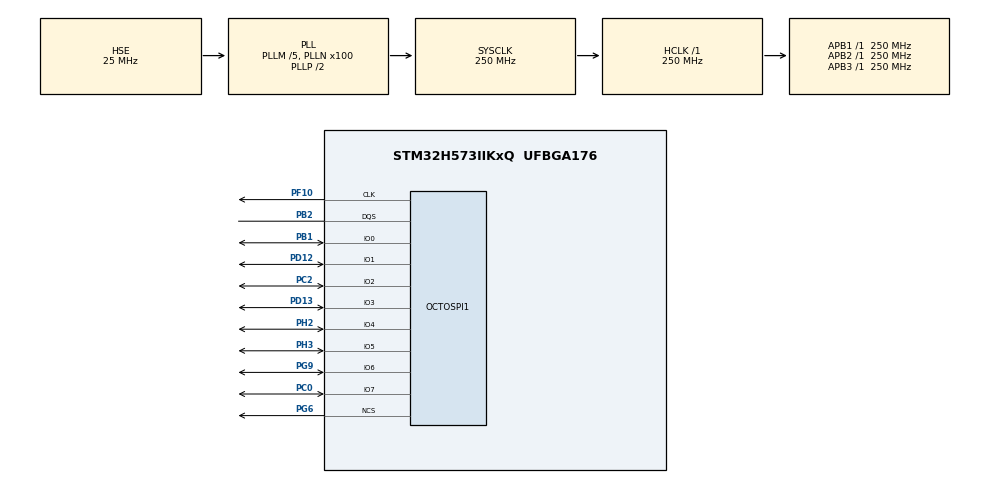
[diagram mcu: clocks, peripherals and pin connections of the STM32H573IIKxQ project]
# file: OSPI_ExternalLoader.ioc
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CORTEX_M33_NS.userName=CORTEX_M33
Mcu.Family=STM32H5
Mcu.Name=STM32H573IIKxQ
Mcu.Package=UFBGA176
NVIC.OCTOSPI1_IRQn=true\:0\:0\:false\:false\:true\:true\:true\:true
NVIC.PriorityGroup=NVIC_PRIORITYGROUP_4
OCTOSPI1.ChipSelectHighTimeCycle=1
OCTOSPI1.ClockMode=HAL_XSPI_CLOCK_MODE_0
OCTOSPI1.ClockPrescaler=1
OCTOSPI1.DelayHoldQuarterCycle=HAL_XSPI_DHQC_ENABLE
OCTOSPI1.FifoThresholdByte=4
OCTOSPI1.MemorySize=HAL_XSPI_SIZE_8MB
OCTOSPI1.MemoryType=HAL_XSPI_MEMTYPE_MACRONIX
OCTOSPI1.WrapSize=HAL_XSPI_WRAP_NOT_SUPPORTED
PB1.GPIO_Speed_High_Default=GPIO_SPEED_FREQ_HIGH
PB1.Mode=OCTOSPI1_IO_Octo
PB1.Signal=OCTOSPI1_IO0
PB2.GPIO_Speed_High_Default=GPIO_SPEED_FREQ_HIGH
PB2.Mode=octods_mode
PB2.Signal=OCTOSPI1_DQS
PC0.GPIO_Speed_High_Default=GPIO_SPEED_FREQ_HIGH
PC0.Mode=OCTOSPI1_IO_Octo
PC0.Signal=OCTOSPI1_IO7
PC2.GPIO_Speed_High_Default=GPIO_SPEED_FREQ_HIGH
PC2.Mode=OCTOSPI1_IO_Octo
PC2.Signal=OCTOSPI1_IO2
PD12.GPIO_Speed_High_Default=GPIO_SPEED_FREQ_HIGH
PD12.Mode=OCTOSPI1_IO_Octo
PD12.Signal=OCTOSPI1_IO1
PD13.GPIO_Speed_High_Default=GPIO_SPEED_FREQ_HIGH
PD13.Mode=OCTOSPI1_IO_Octo
PD13.Signal=OCTOSPI1_IO3
PF10.GPIO_Speed_High_Default=GPIO_SPEED_FREQ_HIGH
PF10.Mode=octods_mode
PF10.Signal=OCTOSPI1_CLK
PG6.GPIO_Speed_High_Default=GPIO_SPEED_FREQ_HIGH
PG6.Mode=octods_mode
PG6.Signal=OCTOSPI1_NCS
PG9.GPIO_Speed_High_Default=GPIO_SPEED_FREQ_HIGH
PG9.Mode=OCTOSPI1_IO_Octo
PG9.Signal=OCTOSPI1_IO6
PH0-OSC_IN(PH0).Mode=HSE-DIG-External-Clock-Source
PH0-OSC_IN(PH0).Signal=RCC_OSC_IN
PH2.GPIO_Speed_High_Default=GPIO_SPEED_FREQ_HIGH
PH2.Mode=OCTOSPI1_IO_Octo
PH2.Signal=OCTOSPI1_IO4
PH3.GPIO_Speed_High_Default=GPIO_SPEED_FREQ_HIGH
PH3.Mode=OCTOSPI1_IO_Octo
PH3.Signal=OCTOSPI1_IO5
ProjectManager.HeapSize=0x200
ProjectManager.StackSize=0x400
ProjectManager.TargetToolchain=STM32CubeIDE
RCC.ADCFreq_Value=250000000
RCC.AHBFreq_Value=250000000
RCC.APB1Freq_Value=250000000
RCC.APB1TimFreq_Value=250000000
RCC.APB2Freq_Value=250000000
RCC.APB2TimFreq_Value=250000000
RCC.APB3Freq_Value=250000000
RCC.CSI_VALUE=4000000
RCC.CortexFreq_Value=250000000
RCC.EPOD_VALUE=25000000
RCC.HCLKFreq_Value=250000000
RCC.HSE_VALUE=25000000
RCC.HSI48_VALUE=48000000
RCC.HSIDiv=RCC_HSI_DIV1
RCC.HSI_VALUE=64000000
RCC.LSE_VALUE=32768
RCC.LSIRC_VALUE=32000
RCC.OCTOSPIMCLockSelection=RCC_OSPICLKSOURCE_PLL2R
RCC.PLL2M=8
RCC.PLL2N=45
RCC.PLL2Source=RCC_PLL2_SOURCE_HSI
RCC.PLLM=5
RCC.PLLN=100
RCC.PLLSourceVirtual=RCC_PLL1_SOURCE_HSE
RCC.SYSCLKFreq_VALUE=250000000
RCC.SYSCLKSource=RCC_SYSCLKSOURCE_PLLCLK
RCC.USBFreq_Value=48000000
RCC.VCOOutputFreq_Value=500000000
VP_ICACHE_VS_ICACHE.Mode=DefaultMode
VP_PWR_VS_SECSignals.Mode=Security/Privilege
board=STM32H573I-DK

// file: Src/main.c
/* USER CODE BEGIN Header */
/**
  ******************************************************************************
  * @file           : main.c
  * @brief          : Main program body
  ******************************************************************************
  * @attention
  *
  * Copyright (c) 2025 STMicroelectronics.
  * All rights reserved.
  *
  * This software is licensed under terms that can be found in the LICENSE file
  * in the root directory of this software component.
  * If no LICENSE file comes with this software, it is provided AS-IS.
  *
  ******************************************************************************
  */
/* USER CODE END Header */
#include "main.h"
#include "icache.h"
#include "octospi.h"
#include "gpio.h"

void SystemClock_Config(void);

/* USER CODE BEGIN 0 */
#define SECTORS_COUNT 1

uint8_t buffer_test[MEMORY_SECTOR_SIZE];

#define LED2_GPIO_PORT                   GPIOI
#define LED2_GPIO_CLK_ENABLE()           __HAL_RCC_GPIOI_CLK_ENABLE()
#define LED2_GPIO_CLK_DISABLE()          __HAL_RCC_GPIOI_CLK_DISABLE()
#define LED2_PIN                         GPIO_PIN_8

void BSP_LED_On()
{
    HAL_GPIO_WritePin(LED2_GPIO_PORT, (uint16_t)LED2_PIN, GPIO_PIN_RESET);
}

/* USER CODE END 0 */

int main(void)
{

  /* USER CODE BEGIN 1 */
    uint32_t var = 0;
    GPIO_InitTypeDef  gpio_init_structure;
  /* USER CODE END 1 */

  /* MCU Configuration--------------------------------------------------------*/

  /* Reset of all peripherals, Initializes the Flash interface and the Systick. */
  HAL_Init();

  /* Configure the system clock */
  SystemClock_Config();

  /* Initialize all configured peripherals */
  MX_GPIO_Init();
  MX_ICACHE_Init();
  MX_OCTOSPI1_Init();
  /* USER CODE BEGIN 2 */
  LED2_GPIO_CLK_ENABLE();
  /* Configure the GPIO_LED pin */
      gpio_init_structure.Mode = GPIO_MODE_OUTPUT_PP;
      gpio_init_structure.Pull = GPIO_NOPULL;
      gpio_init_structure.Speed = GPIO_SPEED_FREQ_HIGH;
      gpio_init_structure.Pin = LED2_PIN;
      HAL_GPIO_Init(LED2_GPIO_PORT, &gpio_init_structure);
      HAL_GPIO_WritePin(LED2_GPIO_PORT, (uint16_t)LED2_PIN, GPIO_PIN_SET);

  CSP_OCTOSPI_Init();
      for (var = 0; var < MEMORY_SECTOR_SIZE; var++) {
          buffer_test[var] = (var & 0xFF);
      }
      for (var = 0; var < SECTORS_COUNT; var++) {
          if (CSP_OSPI_EraseSector(var * MEMORY_SECTOR_SIZE, (var + 1) * MEMORY_SECTOR_SIZE - 1) != HAL_OK) {
        	  BSP_LED_On();
        	  while (1) {}
          }
          if (CSP_OSPI_WriteMemory(buffer_test, var * MEMORY_SECTOR_SIZE, sizeof(buffer_test)) != HAL_OK) {
        	  BSP_LED_On();
        	  while (1) {}
          }
      }
      if (CSP_OSPI_EnableMemoryMappedMode() != HAL_OK) {
    	  BSP_LED_On();
    	  while (1) {}
      }
      for (var = 0; var < SECTORS_COUNT; var++) {
          if (memcmp(buffer_test, (uint8_t*) (0x90000000 + var * MEMORY_SECTOR_SIZE), MEMORY_SECTOR_SIZE) != HAL_OK) {
        	  BSP_LED_On();
        	  while (1) {}
          }
      }
  /* USER CODE END 2 */

  /* Infinite loop */
  while (1)
  {

  }
}

void SystemClock_Config(void)
{
  RCC_OscInitTypeDef RCC_OscInitStruct = {0};
  RCC_ClkInitTypeDef RCC_ClkInitStruct = {0};

  /** Configure the main internal regulator output voltage
  */
  __HAL_PWR_VOLTAGESCALING_CONFIG(PWR_REGULATOR_VOLTAGE_SCALE0);

  while(!__HAL_PWR_GET_FLAG(PWR_FLAG_VOSRDY)) {}

  /** Initializes the RCC Oscillators according to the specified parameters
  * in the RCC_OscInitTypeDef structure.
  */
  RCC_OscInitStruct.OscillatorType = RCC_OSCILLATORTYPE_HSI|RCC_OSCILLATORTYPE_HSE;
  RCC_OscInitStruct.HSEState = RCC_HSE_BYPASS_DIGITAL;
  RCC_OscInitStruct.HSIState = RCC_HSI_ON;
  RCC_OscInitStruct.HSIDiv = RCC_HSI_DIV1;
  RCC_OscInitStruct.HSICalibrationValue = RCC_HSICALIBRATION_DEFAULT;
  RCC_OscInitStruct.PLL.PLLState = RCC_PLL_ON;
  RCC_OscInitStruct.PLL.PLLSource = RCC_PLL1_SOURCE_HSE;
  RCC_OscInitStruct.PLL.PLLM = 5;
  RCC_OscInitStruct.PLL.PLLN = 100;
  RCC_OscInitStruct.PLL.PLLP = 2;
  RCC_OscInitStruct.PLL.PLLQ = 2;
  RCC_OscInitStruct.PLL.PLLR = 2;
  RCC_OscInitStruct.PLL.PLLRGE = RCC_PLL1_VCIRANGE_2;
  RCC_OscInitStruct.PLL.PLLVCOSEL = RCC_PLL1_VCORANGE_WIDE;
  RCC_OscInitStruct.PLL.PLLFRACN = 0;
  if (HAL_RCC_OscConfig(&RCC_OscInitStruct) != HAL_OK)
  {
    Error_Handler();
  }

  /** Initializes the CPU, AHB and APB buses clocks
  */
  RCC_ClkInitStruct.ClockType = RCC_CLOCKTYPE_HCLK|RCC_CLOCKTYPE_SYSCLK
                              |RCC_CLOCKTYPE_PCLK1|RCC_CLOCKTYPE_PCLK2
                              |RCC_CLOCKTYPE_PCLK3;
  RCC_ClkInitStruct.SYSCLKSource = RCC_SYSCLKSOURCE_PLLCLK;
  RCC_ClkInitStruct.AHBCLKDivider = RCC_SYSCLK_DIV1;
  RCC_ClkInitStruct.APB1CLKDivider = RCC_HCLK_DIV1;
  RCC_ClkInitStruct.APB2CLKDivider = RCC_HCLK_DIV1;
  RCC_ClkInitStruct.APB3CLKDivider = RCC_HCLK_DIV1;

  if (HAL_RCC_ClockConfig(&RCC_ClkInitStruct, FLASH_LATENCY_5) != HAL_OK)
  {
    Error_Handler();
  }

  /** Configure the programming delay
  */
  __HAL_FLASH_SET_PROGRAM_DELAY(FLASH_PROGRAMMING_DELAY_2);
}

void Error_Handler(void)
{
  __disable_irq();
  while (1)
  {
  }
}
